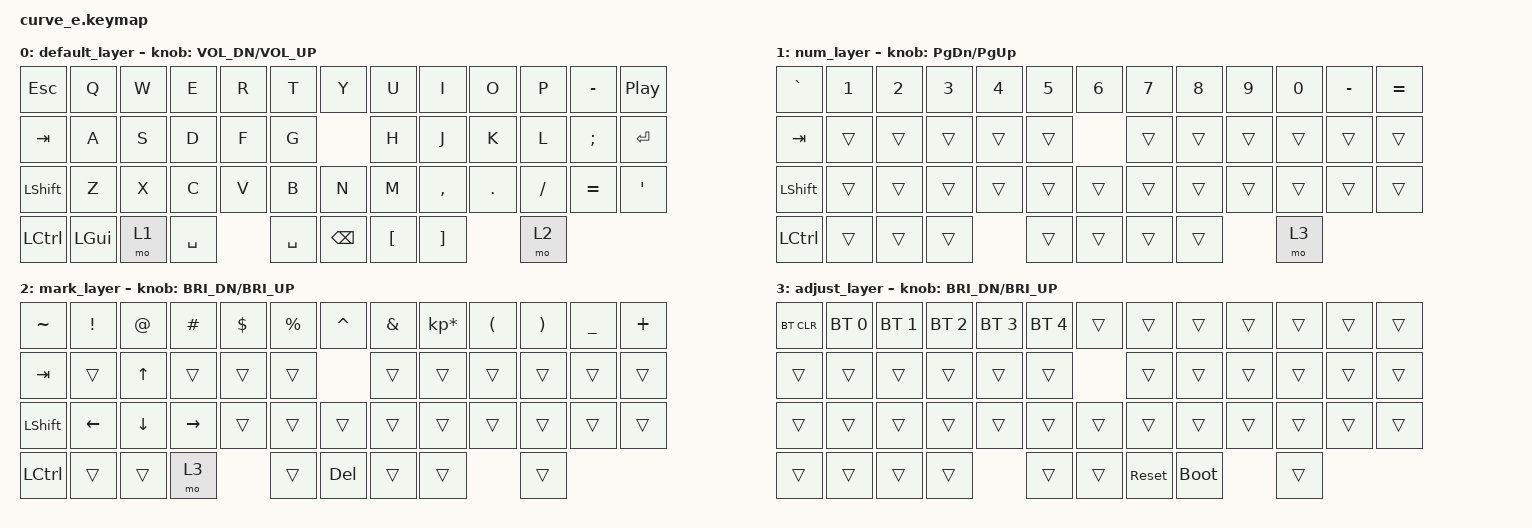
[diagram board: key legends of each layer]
/*
# Copyright (c) 2021 The ZMK Contributors
*
* SPDX-License-Identifier: MIT
*/

#include <behaviors.dtsi>
#include <dt-bindings/zmk/keys.h>
// #include <dt-bindings/zmk/rgb.h>
#include <dt-bindings/zmk/bt.h>
#include <dt-bindings/zmk/outputs.h>
#include <dt-bindings/zmk/ext_power.h>

/ {

	conditional_layers {
		compatible = "zmk,conditional-layers";
		tri_layer {
			if-layers = <1 2>;
			then-layer = <3>;
		};
	};

	keymap {
		compatible = "zmk,keymap";

		default_layer {
			bindings = <
				&kp ESC		&kp Q    &kp W    &kp E    &kp R     &kp T       &kp Y     &kp U  &kp I  &kp O  	  &kp P     &kp MINUS   &kp C_PP
			    &kp TAB     &kp A    &kp S    &kp D    &kp F     &kp G       &kp H     &kp J  &kp K  &kp L     &kp SEMI   	       &kp ENTER   
			    &kp LSHIFT  &kp Z    &kp X 	  &kp C    &kp V     &kp B       &kp N  &kp M  &kp COMMA &kp PERIOD &kp SLASH &kp EQUAL &kp SQT
			    &kp LCTRL   	&kp LGUI &mo 1  &kp SPACE    &kp SPACE   &kp BSPC  &kp LBKT  &kp RBKT         &mo 2
			>;
                     sensor-bindings = <&inc_dec_kp C_VOL_DN C_VOL_UP>;
		};

		num_layer {
			bindings = <
				&kp GRAVE	&kp N1   &kp N2   &kp N3   &kp N4    &kp N5      &kp N6   &kp N7 &kp N8 &kp N9    &kp N0     &kp MINUS &kp EQUAL
			    &kp TAB     &trans   &trans   &trans   &trans    &trans      &trans   &trans &trans &trans    &trans     	       &trans   
			    &kp LSHIFT  &trans   &trans   &trans   &trans    &trans      &trans   &trans &trans &trans    &trans     &trans	   &trans
			    &kp LCTRL   		          &trans   &trans    &trans      &trans   &trans       &trans    &trans                &mo 3
			>;
                     sensor-bindings = <&inc_dec_kp PG_DN PG_UP>;
		};

		mark_layer {
			bindings = <
				&kp TILDE	&kp EXCL &kp AT  &kp HASH  &kp DLLR  &kp PRCNT   &kp CARET &kp AMPS &kp KP_MULTIPLY &kp LPAR  &kp RPAR &kp UNDER &kp PLUS
			    &kp TAB     &trans   &kp UP  &trans   &trans    &trans      &trans    &trans   &trans          &trans    &trans     	     &trans   
			    &kp LSHIFT  &kp LEFT   &kp DOWN   &kp RIGHT   &trans    &trans      &trans    &trans   &trans          &trans    &trans   &trans	 &trans
			    &kp LCTRL   		 &trans   &trans   &mo 3    &trans      &kp DEL 		                    &trans    &trans             &trans
			>;
                     sensor-bindings = <&inc_dec_kp C_BRI_DN C_BRI_UP>;
		};

		adjust_layer {
			bindings = <
				&bt BT_CLR 	  &bt BT_SEL 0 &bt BT_SEL 1 &bt BT_SEL 2 &bt BT_SEL 3 &bt BT_SEL 4 &trans &trans &trans &trans &trans &trans &trans
		 		&trans &trans &trans &trans &trans &trans &trans &trans &trans &trans &trans        &trans   
	     		&trans &trans &trans &trans &trans &trans &trans &trans &trans &trans &trans &trans &trans
			    &trans 		              &trans       &trans       &trans       &trans &trans      &sys_reset &bootloader   &trans   
			>;
                     sensor-bindings = <&inc_dec_kp C_BRI_DN C_BRI_UP>;
		};
	};
};
